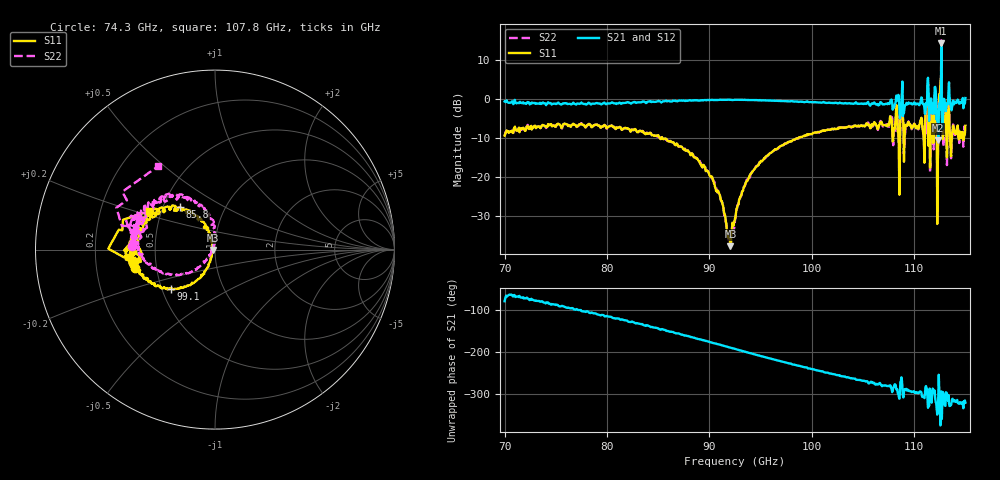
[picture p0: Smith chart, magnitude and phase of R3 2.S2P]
! Python used to change reference impedance from 50 to 1.
# Hz S RI R 1
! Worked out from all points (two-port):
!   901 points, 70 GHz to 115 GHz, reference 1 ohm
!   highest |S21| = 14.17 dB at 112.7 GHz (marker M1); lowest = -10.6 dB at 112.3 GHz (marker M2)
!   |S21| within 3 dB of the highest: 112.6407 GHz to 112.6578 GHz (17.1 MHz wide, 0.0152 % of centre)
!   lowest |S11| = -37.7 dB at 92.05 GHz (marker M3), VSWR 1.03, Z = 0.975 - j0.00352 ohm
!   |S11| at or under -10 dB: 85.13381 GHz to 85.30829 GHz (174.5 MHz wide, 0.205 % of centre); 85.4 GHz to 98.69 GHz (13.3 GHz wide, 14.4 % of centre); 108.4673 GHz to 108.6102 GHz (142.9 MHz wide, 0.132 % of centre)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
!   |S22| runs from -37.4 to 14.9 dB; largest |S21 - S12| = 1.5
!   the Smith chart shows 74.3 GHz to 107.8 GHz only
!   S11 on the Smith chart (normalised r, x): 74.3 GHz: 0.38, -0.10; 85.8 GHz: 0.61, +0.32; 99.1 GHz: 0.56, -0.27; 107.8 GHz: 0.42, +0.22
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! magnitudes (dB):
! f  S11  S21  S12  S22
! 70 GHz  -9.5  -0.7  -0.7  -9.5
! 74.3 GHz  -6.8  -1.1  -1.1  -6.7
! 77.5 GHz  -6.4  -1.0  -1.0  -6.3
! 85 GHz  -9.3  -0.6  -0.6  -9.6
! 85.8 GHz  -10.3  -0.6  -0.6  -10.4
! 89.7 GHz  -18.5  -0.4  -0.4  -18.4
! 92.05 GHz  -37.7  -0.3  -0.3  -37.4
! 92.5 GHz  -30.7  -0.3  -0.3  -31.0
! 94.45 GHz  -17.8  -0.4  -0.4  -17.8
! 99.1 GHz  -9.7  -0.8  -0.8  -9.8
! 100 GHz  -9.0  -0.9  -0.9  -9.0
! 107.5 GHz  -6.7  -1.3  -1.3  -6.7
! 107.8 GHz  -7.4  -1.0  -1.1  -5.0
! 110.8 GHz  -8.2  -1.4  -1.4  -7.7
! 111.3 GHz  -1.4  4.5  4.5  -8.9
! 111.8 GHz  -2.7  -3.8  -3.9  -2.7
! 111.9 GHz  -11.2  -1.6  -1.6  -12.9
! 112.3 GHz  -8.9  -10.6  -10.6  -6.0
! 112.7 GHz  5.3  14.2  14.2  14.9
! 113 GHz  -2.7  -1.2  -1.2  -4.1
! 113.7 GHz  -11.1  -3.0  -3.0  -12.1
! 115 GHz  -6.9  0.2  0.2  -9.4
